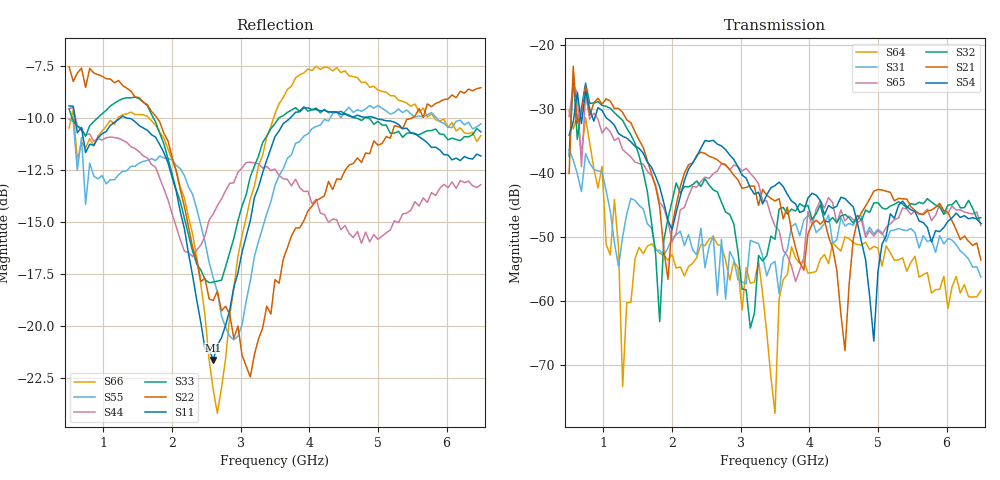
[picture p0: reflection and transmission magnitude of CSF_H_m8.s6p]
!Keysight Technologies,M9804A,MY58100912,A.14.10.03
!Date: Thursday, April 27, 2023 10:28:33
!Correction: S11(C  6-Port  )
!S12(C  6-Port  )
!S13(C  6-Port  )
!S14(C  6-Port  )
!S15(C  6-Port  )
!S16(C  6-Port  )
!S21(C  6-Port  )
!S22(C  6-Port  )
!S23(C  6-Port  )
!S24(C  6-Port  )
!S25(C  6-Port  )
!S26(C  6-Port  )
!S31(C  6-Port  )
!S32(C  6-Port  )
!S33(C  6-Port  )
!S34(C  6-Port  )
!S35(C  6-Port  )
!S36(C  6-Port  )
!S41(C  6-Port  )
!S42(C  6-Port  )
!S43(C  6-Port  )
!S44(C  6-Port  )
!S45(C  6-Port  )
!S46(C  6-Port  )
!S51(C  6-Port  )
!S52(C  6-Port  )
!S53(C  6-Port  )
!S54(C  6-Port  )
!S55(C  6-Port  )
!S56(C  6-Port  )
!S61(C  6-Port  )
!S62(C  6-Port  )
!S63(C  6-Port  )
!S64(C  6-Port  )
!S65(C  6-Port  )
!S66(C  6-Port  )
!S6P File: Measurement: :
# Hz S  RI  R 50
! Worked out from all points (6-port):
!   101 points, 500 MHz to 6.5 GHz, reference 50 ohm
!   strongest paths, dB at 500 MHz, 2 GHz, 3.5 GHz, 5 GHz, 6.5 GHz:
!     S54: -34.1, -48.9, -42.0, -55.5, -47.9
!     S21: -40.1, -48.2, -44.4, -42.6, -53.6
!     S32: -37.4, -44.4, -50.4, -44.7, -47.0
!     S65: -31.1, -50.8, -48.3, -49.0, -48.2
!     S31: -36.3, -50.2, -53.9, -48.8, -56.3
!     S64: -30.3, -52.8, -77.6, -51.8, -58.4
!   lowest |S11| = -21.6 dB at 2.6 GHz (marker M1), VSWR 1.18, Z = 42.6 + j2.04 ohm
!   |S11| at or under -10 dB: 587.3 MHz to 1.24 GHz (652.2 MHz wide, 71.4 % of centre); 1.369 GHz to 3.716 GHz (2.347 GHz wide, 92.3 % of centre); 4.974 GHz to end of sweep
